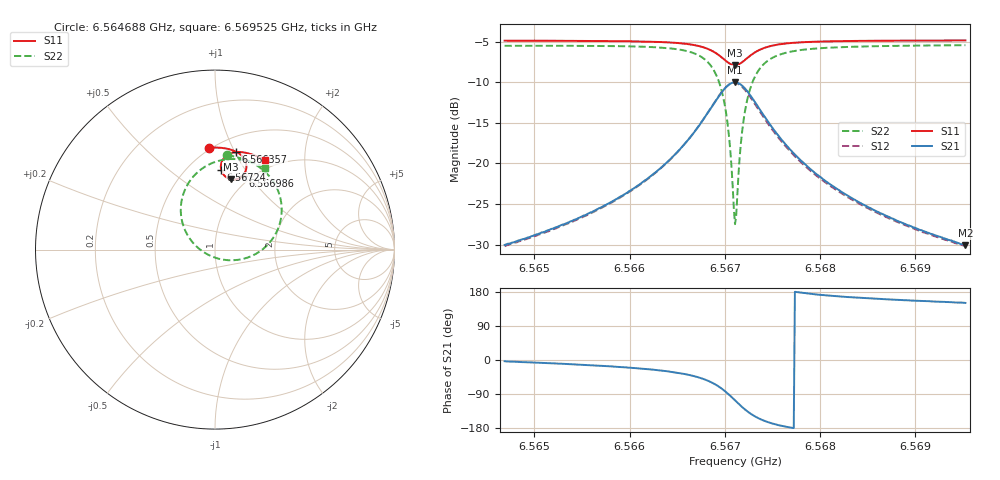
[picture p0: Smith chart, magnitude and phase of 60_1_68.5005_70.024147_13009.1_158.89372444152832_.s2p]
#  HZ  S  RI  R  50.00
! Rohde & Schwarz Vector Network Analyzer
! Rohde-Schwarz,ZNB20-2Port,1311601062101988,3.16
! Created: UTC 3/20/2024, 4:51:12 PM
! freq[Hz]  re:S11  im:S11  re:S21  im:S21  re:S12  im:S12  re:S22  im:S22
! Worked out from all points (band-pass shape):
!   401 points, 6.564688 GHz to 6.569525 GHz, reference 50 ohm
!   highest |S21| = -10.02 dB at 6.567107 GHz (marker M1); lowest = -30.1 dB at 6.569525 GHz (marker M2)
!   |S21| within 3 dB of the highest: 6.566864 GHz to 6.567349 GHz (484.8 kHz wide, 0.00738 % of centre)
!   lowest |S11| = -7.9 dB at 6.567107 GHz (marker M3), VSWR 2.34, Z = 42.5 + j39.7 ohm
!   |S11| at or under -10 dB: nowhere
!   |S22| runs from -27.5 to -5.4 dB; largest |S21 - S12| = 0.016
!   S11 on the Smith chart (normalised r, x): 6.564688 GHz: 0.48, +0.81; 6.566357 GHz: 0.64, +1.01; 6.566986 GHz: 0.91, +0.93; 6.56724 GHz: 0.71, +0.79; 6.569525 GHz: 0.87, +1.29
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6.5646884e9  -0.0361 0.5683  0.0315 -0.00178  0.0309 -0.00243  0.0676 0.5251
6.5654986e9  0.0321 0.5672  0.0461 -0.0102  0.0452 -0.0108  0.1499 0.5074
6.5659581e9  0.0749 0.5602  0.0615 -0.0217  0.0606 -0.0226  0.2098 0.4822
6.5663088e9  0.1125 0.5475  0.0817 -0.042  0.0807 -0.043  0.2708 0.4406
6.5663572e9  0.1181 0.5449  0.0853 -0.0465  0.0843 -0.0476  0.2809 0.4315
6.5666111e9  0.1506 0.5213  0.1084 -0.0868  0.1067 -0.0887  0.3403 0.3523
6.5667925e9  0.1721 0.4848  0.1198 -0.1515  0.1167 -0.1548  0.3716 0.2276
6.5669013e9  0.1734 0.4471  0.1034 -0.2177  0.0972 -0.2223  0.3443 0.101
6.566986e9  0.1546 0.4121  0.0537 -0.2775  0.0427 -0.281  0.2509 -0.00939
6.5670343e9  0.1322 0.3963  0.00374 -0.3025  -0.0099 -0.3028  0.1575 -0.0515
6.5670948e9  0.095 0.3908  -0.0737 -0.3063  -0.0883 -0.3003  0.0167 -0.0499
6.5671069e9  0.0873 0.3921  -0.0895 -0.3024  -0.1038 -0.2954  -0.0108 -0.0409
6.567119e9  0.0798 0.3944  -0.1048 -0.2972  -0.1184 -0.2886  -0.0371 -0.0291
6.5671311e9  0.0726 0.3973  -0.1194 -0.2902  -0.1323 -0.2805  -0.0621 -0.0148
6.5671673e9  0.054 0.4104  -0.1573 -0.2624  -0.1674 -0.25  -0.1244 0.0402
6.5671915e9  0.0446 0.4218  -0.1764 -0.2398  -0.1842 -0.2263  -0.1542 0.0828
6.5672399e9  0.0341 0.4461  -0.1994 -0.1914  -0.2027 -0.1777  -0.1864 0.171
6.5673366e9  0.0375 0.4887  -0.2016 -0.1089  -0.1994 -0.0984  -0.1746 0.315
6.5674817e9  0.0645 0.5239  -0.1666 -0.0405  -0.1626 -0.0347  -0.0988 0.4294
6.5679171e9  0.1348 0.5438  -0.09 0.00928  -0.0876 0.0108  0.0668 0.5029
6.5687272e9  0.2154 0.5269  -0.0439 0.0162  -0.0428 0.0164  0.2001 0.489
6.5695253e9  0.2769 0.4995  -0.0273 0.0154  -0.0269 0.0155  0.2763 0.4569
